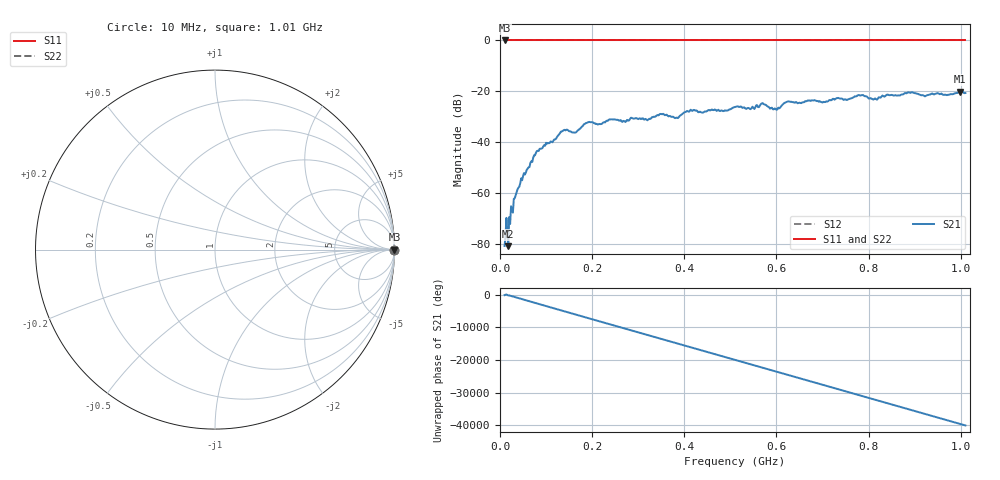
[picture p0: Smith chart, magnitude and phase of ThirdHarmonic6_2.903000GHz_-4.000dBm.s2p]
! 8/17/2025 8:01:34 AM
! C:\ANRITSUVNA\TEMP\TEMP.S2P
! CHANNEL.1
! TR.MEASUREMENT
! RAW.DATA
! RF.CORRECTION.OFF
! AVERAGING.OFF
! IF.BANDWIDTH: 5KHZ
! SWEEPTYPE:  FREQ.SWEEP(Linear)
! Reference Plane Port Info
! PORT:  PORT1  PORT2
! DISTANCE:  0  m  0  m
! TIME:  0  s  0  s
! PHASE.OFFSET:  0  deg.  0  deg.
! LOSS:  0  dB  0  dB
! REF.LOSS:  0  dB  0  dB
! REF.FREQ:  0  Hz  0  Hz
! Power Info
! POWER:  -20  dBm  -20  dBm
! EFF.POWER:  -20  dBm  -20  dBm
! SOURCE.ATTEN:  0  dB  0  dB
! TEST.ATTEN:  0  dB  0  dB
# GHZ S RI R 50.0
! FREQ.GHZ  S11RE  S11IM  S21RE  S21IM  S12RE  S12IM  S22RE  S22IM
!; PortSelection: Port_12
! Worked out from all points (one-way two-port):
!   501 points, 10 MHz to 1.01 GHz, reference 50 ohm
!   highest |S21| = -20.03 dB at 998 MHz (marker M1); lowest = -80.7 dB at 18 MHz (marker M2)
!   lowest |S11| = 0.0 dB at 10 MHz (marker M3)
!   |S11| at or under -10 dB: nowhere
!   |S22| runs from 0.0 to 0.0 dB; largest |S21 - S12| = 1.1
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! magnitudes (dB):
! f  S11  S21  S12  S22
! 10 MHz  0.0  -80.6  0.0  0.0
! 18 MHz  0.0  -80.7  0.0  0.0
! 34 MHz  0.0  -60.7  0.0  0.0
! 48 MHz  0.0  -54.8  0.0  0.0
! 78 MHz  0.0  -44.0  0.0  0.0
! 136 MHz  0.0  -35.5  0.0  0.0
! 162 MHz  0.0  -36.1  0.0  0.0
! 178 MHz  0.0  -33.7  0.0  0.0
! 194 MHz  0.0  -31.9  0.0  0.0
! 322 MHz  0.0  -31.0  0.0  0.0
! 344 MHz  0.0  -29.4  0.0  0.0
! 384 MHz  0.0  -30.3  0.0  0.0
! 416 MHz  0.0  -27.6  0.0  0.0
! 510 MHz  0.0  -26.1  0.0  0.0
! 570 MHz  0.0  -24.6  0.0  0.0
! 598 MHz  0.0  -26.8  0.0  0.0
! 624 MHz  0.0  -24.0  0.0  0.0
! 678 MHz  0.0  -23.5  0.0  0.0
! 814 MHz  0.0  -22.7  0.0  0.0
! 844 MHz  0.0  -21.4  0.0  0.0
! 998 MHz  0.0  -20.0  0.0  0.0
! 1.01 GHz  0.0  -20.6  0.0  0.0
